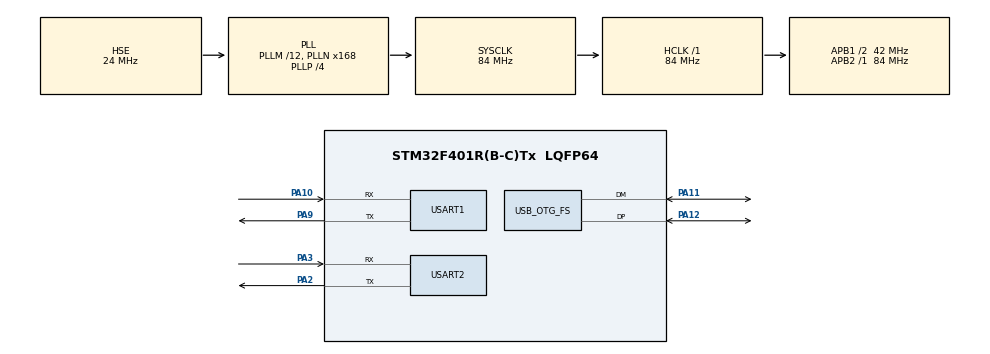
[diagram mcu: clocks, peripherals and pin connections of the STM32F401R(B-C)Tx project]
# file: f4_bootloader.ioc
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Dma.Request0=USART2_RX
Dma.USART2_RX.0.Direction=DMA_PERIPH_TO_MEMORY
Dma.USART2_RX.0.FIFOMode=DMA_FIFOMODE_DISABLE
Dma.USART2_RX.0.Instance=DMA1_Stream5
Dma.USART2_RX.0.MemDataAlignment=DMA_MDATAALIGN_BYTE
Dma.USART2_RX.0.MemInc=DMA_MINC_ENABLE
Dma.USART2_RX.0.Mode=DMA_NORMAL
Dma.USART2_RX.0.PeriphDataAlignment=DMA_PDATAALIGN_BYTE
Dma.USART2_RX.0.PeriphInc=DMA_PINC_DISABLE
Dma.USART2_RX.0.Priority=DMA_PRIORITY_LOW
Mcu.Family=STM32F4
Mcu.Name=STM32F401R(B-C)Tx
Mcu.Package=LQFP64
NVIC.DMA1_Stream5_IRQn=true\:0\:0\:false\:false\:true\:false\:true\:true
NVIC.OTG_FS_IRQn=true\:0\:0\:false\:false\:true\:false\:true\:true
NVIC.PriorityGroup=NVIC_PRIORITYGROUP_4
NVIC.USART2_IRQn=true\:0\:0\:false\:false\:true\:true\:true\:true
PA10.Mode=Asynchronous
PA10.Signal=USART1_RX
PA11.Mode=Device_Only
PA11.Signal=USB_OTG_FS_DM
PA12.Mode=Device_Only
PA12.Signal=USB_OTG_FS_DP
PA13.Mode=Serial_Wire
PA13.Signal=SYS_JTMS-SWDIO
PA14.Mode=Serial_Wire
PA14.Signal=SYS_JTCK-SWCLK
PA2.Mode=Asynchronous
PA2.Signal=USART2_TX
PA3.Mode=Asynchronous
PA3.Signal=USART2_RX
PA9.Mode=Asynchronous
PA9.Signal=USART1_TX
PH0\ -\ OSC_IN.Mode=HSE-External-Oscillator
PH0\ -\ OSC_IN.Signal=RCC_OSC_IN
PH1\ -\ OSC_OUT.Mode=HSE-External-Oscillator
PH1\ -\ OSC_OUT.Signal=RCC_OSC_OUT
ProjectManager.HeapSize=0x1024
ProjectManager.StackSize=0x1024
ProjectManager.TargetToolchain=MDK-ARM V5.32
RCC.48MHZClocksFreq_Value=48000000
RCC.AHBFreq_Value=84000000
RCC.APB1CLKDivider=RCC_HCLK_DIV2
RCC.APB1Freq_Value=42000000
RCC.APB1TimFreq_Value=84000000
RCC.APB2Freq_Value=84000000
RCC.APB2TimFreq_Value=84000000
RCC.CortexFreq_Value=84000000
RCC.HCLKFreq_Value=84000000
RCC.HSE_VALUE=24000000
RCC.HSI_VALUE=16000000
RCC.LSE_VALUE=32768
RCC.PLLM=12
RCC.PLLN=168
RCC.PLLP=RCC_PLLP_DIV4
RCC.PLLQ=7
RCC.SYSCLKFreq_VALUE=84000000
RCC.SYSCLKSource=RCC_SYSCLKSOURCE_PLLCLK
RCC.VCOOutputFreq_Value=336000000
USART1.VirtualMode=VM_ASYNC
USART2.VirtualMode=VM_ASYNC
USB_DEVICE.CLASS_NAME_FS=CDC
USB_DEVICE.MANUFACTURER_STRING=ShenZhenCBD
USB_DEVICE.PID_CDC_FS=24910
USB_DEVICE.VID=7504
USB_DEVICE.VirtualMode=Cdc
USB_DEVICE.VirtualModeFS=Cdc_FS
USB_OTG_FS.VirtualMode=Device_Only
VP_USB_DEVICE_VS_USB_DEVICE_CDC_FS.Mode=CDC_FS
board=custom

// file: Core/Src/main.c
/* USER CODE BEGIN Header */
/**
 ******************************************************************************
 * @file           : main.c
 * @brief          : Main program body
 ******************************************************************************
 * @attention
 *
 * Copyright (c) 2024 STMicroelectronics.
 * All rights reserved.
 *
 * This software is licensed under terms that can be found in the LICENSE file
 * in the root directory of this software component.
 * If no LICENSE file comes with this software, it is provided AS-IS.
 *
 ******************************************************************************
 */
/* USER CODE END Header */
#include "main.h"
#include "usb_device.h"

/* USER CODE BEGIN Includes */
#include "stdio.h"
#include "usbd_cdc_if.h"
#include "pfifo.h"
#include "bsp_cpu_flash.h"
#include "ymodem.h"
/* USER CODE END Includes */

/* USER CODE BEGIN PD */
#define APP_START_ADDRESS ADDR_FLASH_SECTOR_3
#define PARA_AREA_ADDR ADDR_FLASH_SECTOR_2
#define ENABLE_INT() __set_PRIMASK(0)
#define DISABLE_INT() __set_PRIMASK(1)
#define USART2_FIFO_SIZE 4096
/* USER CODE END PD */

UART_HandleTypeDef huart1;
UART_HandleTypeDef huart2;
DMA_HandleTypeDef hdma_usart2_rx;

/* USER CODE BEGIN PV */
machine_para_t machine_para = {0};
#if OTA_INTERFACE == USE_UART
static fifo_rx_def_t usart2_recv_fifo = {.buffer = NULL, .in = 0, .out = 0, .size = 0, .error = 0, .last_cnt = 0};
static uint8_t usart2_dma_buff[USART2_FIFO_SIZE] = {0};
static uint8_t usart2_fifo_buff[USART2_FIFO_SIZE] = {0};
#endif
/* USER CODE END PV */

void SystemClock_Config(void);
static void MX_GPIO_Init(void);
static void MX_DMA_Init(void);
static void MX_USART1_UART_Init(void);
static void MX_USART2_UART_Init(void);
/* USER CODE BEGIN PFP */
static void jump_to_address(uint32_t app_address);
/* USER CODE END PFP */

int main(void)
{

  /* MCU Configuration--------------------------------------------------------*/

  /* Reset of all peripherals, Initializes the Flash interface and the Systick. */
  HAL_Init();

  /* Configure the system clock */
  SystemClock_Config();

  /* Initialize all configured peripherals */
  MX_GPIO_Init();
#if OTA_INTERFACE == USE_USB
  MX_USB_DEVICE_Init();
#elif OTA_INTERFACE == USE_UART
  MX_DMA_Init();
  MX_USART2_UART_Init();
#endif
  MX_USART1_UART_Init();
  /* USER CODE BEGIN 2 */
  if (bsp_ReadCpuFlash(PARA_AREA_ADDR, (uint8_t *)&machine_para, sizeof(machine_para_t)) == 0)
  {
    printf("magic : ");
    for (uint32_t i = 0; i < 4; i++)
    {
      printf("%02x ", machine_para.magic[i]);
    }
    printf("\r\n");
    printf("major_version : %d\r\n", machine_para.major_version);
    printf("minor_version : %d\r\n", machine_para.minor_version);
    printf("patch_version : %d\r\n", machine_para.patch_version);
    printf("board_type : %d\r\n", machine_para.board_type);
    printf("is_upgraded : %d\r\n", machine_para.extra[0]);
    printf("file_len : %d\r\n", machine_para.file_len);
    printf("md5 : ");
    for (uint32_t i = 0; i < 16; i++)
    {
      printf("%02x ", machine_para.md5[i]);
    }
    printf("\r\n");
  }
  /* USER CODE END 2 */

  /* Infinite loop */
  while (1)
  {

    /* USER CODE BEGIN 3 */
    printf("### ymodem : %d ###\r\n", Ymodem_Receive(PARA_AREA_ADDR, &machine_para));
#if OTA_INTERFACE == USE_USB
    USBD_Stop(&hUsbDeviceFS);
    USBD_DeInit(&hUsbDeviceFS);

#elif OTA_INTERFACE == USE_UART
    while(HAL_UART_GetState(&huart2) == HAL_UART_STATE_BUSY_TX_RX)
    {
      HAL_Delay(1);
    }
    HAL_UART_DeInit(&huart2);
#endif
    jump_to_address(APP_START_ADDRESS);
  }
  /* USER CODE END 3 */
}

void SystemClock_Config(void)
{
  RCC_OscInitTypeDef RCC_OscInitStruct = {0};
  RCC_ClkInitTypeDef RCC_ClkInitStruct = {0};

  /** Configure the main internal regulator output voltage
  */
  __HAL_RCC_PWR_CLK_ENABLE();
  __HAL_PWR_VOLTAGESCALING_CONFIG(PWR_REGULATOR_VOLTAGE_SCALE2);

  /** Initializes the RCC Oscillators according to the specified parameters
  * in the RCC_OscInitTypeDef structure.
  */
  RCC_OscInitStruct.OscillatorType = RCC_OSCILLATORTYPE_HSE;
  RCC_OscInitStruct.HSEState = RCC_HSE_ON;
  RCC_OscInitStruct.PLL.PLLState = RCC_PLL_ON;
  RCC_OscInitStruct.PLL.PLLSource = RCC_PLLSOURCE_HSE;
  RCC_OscInitStruct.PLL.PLLM = 12;
  RCC_OscInitStruct.PLL.PLLN = 168;
  RCC_OscInitStruct.PLL.PLLP = RCC_PLLP_DIV4;
  RCC_OscInitStruct.PLL.PLLQ = 7;
  if (HAL_RCC_OscConfig(&RCC_OscInitStruct) != HAL_OK)
  {
    Error_Handler();
  }

  /** Initializes the CPU, AHB and APB buses clocks
  */
  RCC_ClkInitStruct.ClockType = RCC_CLOCKTYPE_HCLK|RCC_CLOCKTYPE_SYSCLK
                              |RCC_CLOCKTYPE_PCLK1|RCC_CLOCKTYPE_PCLK2;
  RCC_ClkInitStruct.SYSCLKSource = RCC_SYSCLKSOURCE_PLLCLK;
  RCC_ClkInitStruct.AHBCLKDivider = RCC_SYSCLK_DIV1;
  RCC_ClkInitStruct.APB1CLKDivider = RCC_HCLK_DIV2;
  RCC_ClkInitStruct.APB2CLKDivider = RCC_HCLK_DIV1;

  if (HAL_RCC_ClockConfig(&RCC_ClkInitStruct, FLASH_LATENCY_2) != HAL_OK)
  {
    Error_Handler();
  }
}

static void MX_USART1_UART_Init(void)
{

  huart1.Instance = USART1;
  huart1.Init.BaudRate = 115200;
  huart1.Init.WordLength = UART_WORDLENGTH_8B;
  huart1.Init.StopBits = UART_STOPBITS_1;
  huart1.Init.Parity = UART_PARITY_NONE;
  huart1.Init.Mode = UART_MODE_TX_RX;
  huart1.Init.HwFlowCtl = UART_HWCONTROL_NONE;
  huart1.Init.OverSampling = UART_OVERSAMPLING_16;
  if (HAL_UART_Init(&huart1) != HAL_OK)
  {
    Error_Handler();
  }

}

static void MX_USART2_UART_Init(void)
{

  huart2.Instance = USART2;
  huart2.Init.BaudRate = 115200;
  huart2.Init.WordLength = UART_WORDLENGTH_8B;
  huart2.Init.StopBits = UART_STOPBITS_1;
  huart2.Init.Parity = UART_PARITY_NONE;
  huart2.Init.Mode = UART_MODE_TX_RX;
  huart2.Init.HwFlowCtl = UART_HWCONTROL_NONE;
  huart2.Init.OverSampling = UART_OVERSAMPLING_16;
  if (HAL_UART_Init(&huart2) != HAL_OK)
  {
    Error_Handler();
  }
  /* USER CODE BEGIN USART2_Init 2 */
#if OTA_INTERFACE == USE_UART
  pfifo_init(&usart2_recv_fifo, usart2_fifo_buff, sizeof(usart2_fifo_buff));
  HAL_UARTEx_ReceiveToIdle_DMA(&huart2, usart2_dma_buff, sizeof(usart2_dma_buff));
#endif
  /* USER CODE END USART2_Init 2 */

}

static void MX_DMA_Init(void)
{

  /* DMA controller clock enable */
  __HAL_RCC_DMA1_CLK_ENABLE();

  /* DMA interrupt init */
  /* DMA1_Stream5_IRQn interrupt configuration */
  HAL_NVIC_SetPriority(DMA1_Stream5_IRQn, 0, 0);
  HAL_NVIC_EnableIRQ(DMA1_Stream5_IRQn);

}

static void MX_GPIO_Init(void)
{

  /* GPIO Ports Clock Enable */
  __HAL_RCC_GPIOH_CLK_ENABLE();
  __HAL_RCC_GPIOA_CLK_ENABLE();

}

/* USER CODE BEGIN 4 */

int fputc(int ch, FILE *f)
{
  USART1->DR = ch;

  while ((USART1->SR & USART_SR_TC) == 0)
    ;

  return ch;
}

static void jump_to_address(uint32_t app_address)
{
  uint32_t i = 0;
  void (*AppJump)(void);

  DISABLE_INT();

  HAL_RCC_DeInit();

  SysTick->CTRL = 0;
  SysTick->LOAD = 0;
  SysTick->VAL = 0;

  for (i = 0; i < 8; i++)
  {
    NVIC->ICER[i] = 0xFFFFFFFF;
    NVIC->ICPR[i] = 0xFFFFFFFF;
  }

  ENABLE_INT();

  AppJump = (void (*)(void))(*((uint32_t *)(app_address + 4)));

  __set_MSP(*(uint32_t *)app_address);

  __set_CONTROL(0);

  AppJump();
  while (1)
  {
    printf("Jump To APP %d Fail\n", app_address);
  }
}
#if OTA_INTERFACE == USE_UART
void HAL_UARTEx_RxEventCallback(UART_HandleTypeDef *huart, uint16_t size)
{
  if (huart->Instance == USART2)
  {
    // printf("usart2 recv %u\n", size);
    // for (uint32_t i = 0; i < size; i++)
    // {
    //   printf("%02x ", usart2_dma_buff[i]);
    // }
    // printf("\n");
    pfifo_write_buff(&usart2_recv_fifo, usart2_dma_buff, size);
    HAL_UARTEx_ReceiveToIdle_DMA(&huart2, usart2_dma_buff, sizeof(usart2_dma_buff));
  }
}
uint32_t usart2_pfifo_read_buf(uint8_t *buffer, uint32_t len)
{
  return (pfifo_read_buff(&usart2_recv_fifo, buffer, len));
}
HAL_StatusTypeDef usart2_send_buf(uint8_t *buffer, uint32_t len)
{
  for (uint32_t i = 0; i < len; i++)
  {
    while ((USART2->SR & 0X40) == 0)
      ;
    USART2->DR = buffer[i];
    // printf("usart2 send %02x\n", buffer[0]);
  }
  return HAL_OK;
  // return HAL_UART_Transmit(&huart2, buffer, len, 1000);
}
#endif
/* USER CODE END 4 */

void Error_Handler(void)
{
  __disable_irq();
  while (1)
  {
  }
}
